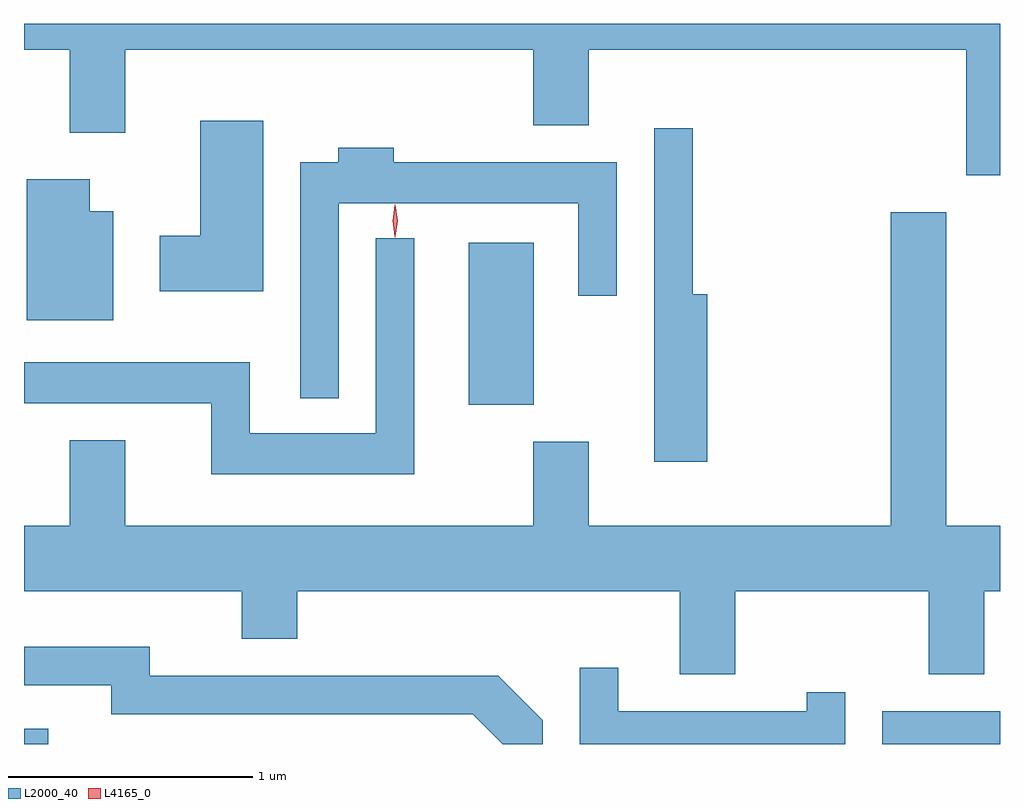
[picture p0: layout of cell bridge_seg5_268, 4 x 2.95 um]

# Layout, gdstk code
import gdstk
lib = gdstk.Library(unit=1e-6, precision=1e-09)
def R(c, l, rs):  # rectangles x0, y0, x1, y1
    for r in rs: c.add(gdstk.rectangle(r[:2], r[2:], *l))
def P(c, l, *ps):  # polygons
    for p in ps: c.add(gdstk.Polygon(p, *l))
L2000_40 = (2000, 40)
L4165_0 = (4165, 0)

bridge_seg5_268 = lib.new_cell('bridge_seg5_268')
R(bridge_seg5_268, L2000_40, [(709.234,1527.209,709.334,1527.273), (712.751,1527.209,713.234,1527.344), (711.056,1528.601,711.324,1529.264)])
P(bridge_seg5_268, L2000_40, [(713.234,1530.162),(709.234,1530.162),(709.234,1530.056),(709.421,1530.056),(709.421,1529.716),(709.649,1529.716),(709.649,1530.056),(711.321,1530.056),(711.321,1529.746),(711.549,1529.746),(711.549,1530.056),(713.096,1530.056),(713.096,1529.541),(713.234,1529.541)],
  [(710.214,1529.764),(709.956,1529.764),(709.956,1529.294),(709.791,1529.294),(709.791,1529.066),(710.214,1529.066)],
  [(712.034,1529.054),(711.974,1529.054),(711.974,1529.733),(711.816,1529.733),(711.816,1528.366),(712.034,1528.366)],
  [(710.524,1529.426),(711.506,1529.426),(711.506,1529.048),(711.664,1529.048),(711.664,1529.594),(710.749,1529.594),(710.749,1529.654),(710.521,1529.654),(710.521,1529.594),(710.366,1529.594),(710.366,1528.628),(710.524,1528.628)],
  [(709.599,1529.394),(709.504,1529.394),(709.504,1529.524),(709.246,1529.524),(709.246,1528.946),(709.599,1528.946)],
  [(712.149,1527.836),(712.941,1527.836),(712.941,1527.496),(713.169,1527.496),(713.169,1527.836),(713.234,1527.836),(713.234,1528.104),(713.014,1528.104),(713.014,1529.389),(712.786,1529.389),(712.786,1528.104),(711.549,1528.104),(711.549,1528.449),(711.321,1528.449),(711.321,1528.104),(709.649,1528.104),(709.649,1528.454),(709.421,1528.454),(709.421,1528.104),(709.234,1528.104),(709.234,1527.836),(710.126,1527.836),(710.126,1527.641),(710.354,1527.641),(710.354,1527.836),(711.921,1527.836),(711.921,1527.496),(712.149,1527.496)],
  [(710.834,1529.283),(710.676,1529.283),(710.676,1528.484),(710.159,1528.484),(710.159,1528.774),(709.234,1528.774),(709.234,1528.606),(710.001,1528.606),(710.001,1528.316),(710.834,1528.316)],
  [(711.359,1527.307),(711.177,1527.489),(709.749,1527.489),(709.749,1527.609),(709.234,1527.609),(709.234,1527.451),(709.591,1527.451),(709.591,1527.331),(711.074,1527.331),(711.196,1527.209),(711.359,1527.209)],
  [(712.599,1527.423),(712.441,1527.423),(712.441,1527.344),(711.669,1527.344),(711.669,1527.523),(711.511,1527.523),(711.511,1527.209),(712.599,1527.209)])
P(bridge_seg5_268, L4165_0, [(710.755,1529.287),(710.754,1529.288),(710.745,1529.354),(710.754,1529.42),(710.755,1529.421),(710.755,1529.42),(710.765,1529.354),(710.755,1529.288)])

lib.write_gds('bridge_seg5_268.gds')
